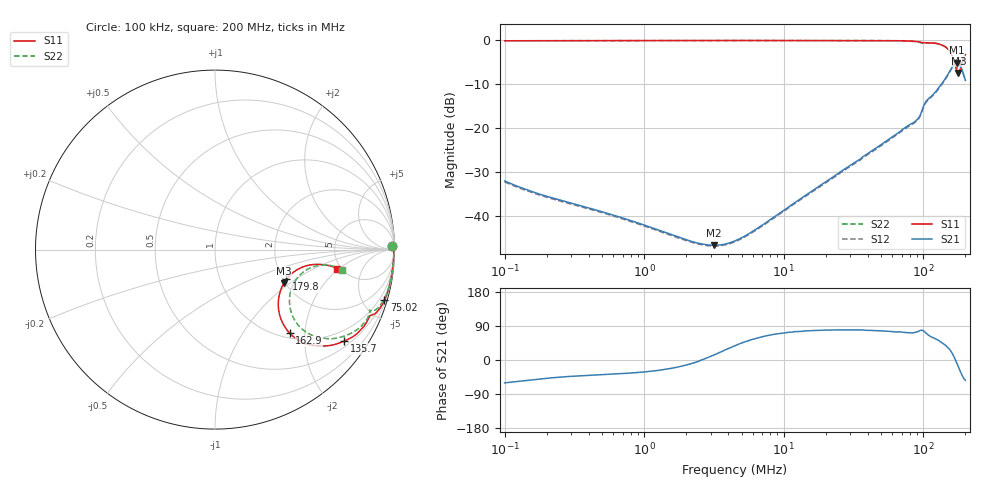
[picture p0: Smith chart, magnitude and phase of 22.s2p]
#  HZ  S  RI  R  50.00
! Rohde & Schwarz Vector Network Analyzer
! Rohde-Schwarz,ZNLE6-2Port,1323001256200024,1.71.1.10-23.02.1.238
! Created: UTC 4/8/2025, 3:00:10 AM
! freq[Hz]  re:S11  im:S11  re:S21  im:S21  re:S12  im:S12  re:S22  im:S22
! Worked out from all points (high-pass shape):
!   1001 points, 100 kHz to 200 MHz, reference 50 ohm
!   highest |S21| = -5.12 dB at 173.1 MHz (marker M1); lowest = -46.7 dB at 3.177 MHz (marker M2)
!   |S21| within 3 dB of the highest: 147.6 MHz to 195.8 MHz (48.19 MHz wide, 28.1 % of centre)
!   lowest |S11| = -7.4 dB at 178.4 MHz (marker M3), VSWR 2.49, Z = 98.4 - j45 ohm
!   |S11| at or under -10 dB: nowhere
!   |S22| runs from -6.4 to 0.0 dB; largest |S21 - S12| = 0.0093
!   S11 on the Smith chart (normalised r, x): 100 kHz: 39, +70; 75.02 MHz: 0.35, -6.81; 135.7 MHz: 0.65, -3.02; 162.9 MHz: 1.09, -1.67; 179.8 MHz: 2.09, -0.85; 200 MHz: 4.63, -1.87
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100000  0.9878 0.0215  0.0124 -0.0217  0.0121 -0.0212  0.9881 0.0209
355854.1  0.9902 0.00767  0.00972 -0.00857  0.00948 -0.00836  0.9907 0.00754
1266322  0.9938 0.00013  0.00613 -0.00317  0.00598 -0.00309  0.994 0.000273
2343837  0.995 -0.00496  0.00494 -0.000511  0.00482 -0.000496  0.9951 -0.00457
3176645  0.9953 -0.00858  0.00451 0.00108  0.00441 0.00101  0.9958 -0.00743
4472136  0.9956 -0.0137  0.0041 0.00319  0.00404 0.00308  0.996 -0.012
1.591428e7  0.9947 -0.0562  0.00417 0.0188  0.00424 0.0182  0.9952 -0.0528
3.154131e7  0.9889 -0.113  0.00757 0.039  0.0074 0.038  0.9898 -0.1067
5.663162e7  0.97 -0.208  0.0186 0.0724  0.0192 0.0701  0.9725 -0.1967
7.502347e7  0.9439 -0.2826  0.031 0.0979  0.0318 0.095  0.9462 -0.2699
9.003717e7  0.903 -0.3467  0.0341 0.1199  0.0351 0.1166  0.9019 -0.3303
9.863572e7  0.8669 -0.3659  0.0342 0.1619  0.0357 0.1578  0.8625 -0.3379
1.056193e8  0.8566 -0.3812  0.0733 0.1926  0.0733 0.1872  0.8622 -0.346
1.174784e8  0.8258 -0.4317  0.1251 0.2068  0.1247 0.2018  0.8414 -0.3956
1.357305e8  0.7211 -0.5094  0.2243 0.2311  0.2198 0.2257  0.7493 -0.4707
1.521223e8  0.5615 -0.5351  0.3668 0.2122  0.3614 0.2113  0.6051 -0.4932
1.628929e8  0.4163 -0.4659  0.496 0.1259  0.4914 0.1226  0.4771 -0.4353
1.731053e8  0.3528 -0.2886  0.5508 -0.067  0.5459 -0.07  0.4149 -0.2738
1.784492e8  0.3829 -0.1873  0.5164 -0.1759  0.5099 -0.1797  0.4431 -0.1803
1.798107e8  0.3982 -0.1644  0.5005 -0.2004  0.4935 -0.204  0.4569 -0.1599
1.882009e8  0.5259 -0.0862  0.3694 -0.2932  0.3604 -0.2947  0.5719 -0.0892
2e8  0.6801 -0.1062  0.2082 -0.2816  0.2008 -0.2795  0.7077 -0.1116
